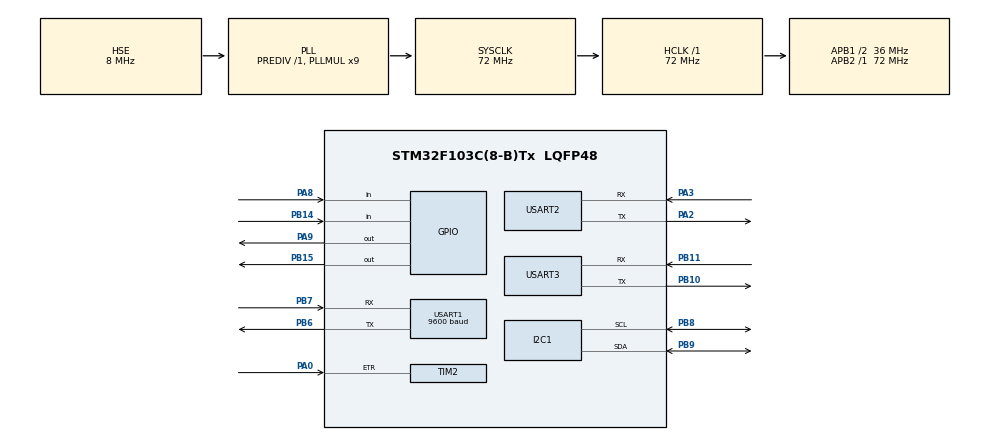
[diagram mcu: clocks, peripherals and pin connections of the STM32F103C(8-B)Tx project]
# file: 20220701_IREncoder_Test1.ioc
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Mcu.Family=STM32F1
Mcu.Name=STM32F103C(8-B)Tx
Mcu.Package=LQFP48
NVIC.I2C1_ER_IRQn=true\:0\:0\:false\:false\:true\:true\:true\:true
NVIC.I2C1_EV_IRQn=true\:0\:0\:false\:false\:true\:true\:true\:true
NVIC.PriorityGroup=NVIC_PRIORITYGROUP_4
NVIC.RCC_IRQn=true\:0\:0\:false\:false\:true\:true\:false\:true
NVIC.TIM3_IRQn=true\:0\:0\:false\:false\:true\:true\:true\:true
NVIC.USART1_IRQn=true\:0\:0\:false\:false\:true\:true\:true\:true
NVIC.USART2_IRQn=true\:0\:0\:false\:false\:true\:true\:true\:true
PA0-WKUP.GPIO_PuPd=GPIO_PULLDOWN
PA0-WKUP.Signal=S_TIM2_CH1_ETR
PA13.Mode=Serial_Wire
PA13.Signal=SYS_JTMS-SWDIO
PA14.Mode=Serial_Wire
PA14.Signal=SYS_JTCK-SWCLK
PA2.Mode=Asynchronous
PA2.Signal=USART2_TX
PA3.Mode=Asynchronous
PA3.Signal=USART2_RX
PA8.Signal=GPIO_Input
PA9.Signal=GPIO_Output
PB10.Mode=Asynchronous
PB10.Signal=USART3_TX
PB11.Mode=Asynchronous
PB11.Signal=USART3_RX
PB14.Signal=GPIO_Input
PB15.Signal=GPIO_Output
PB6.Mode=Asynchronous
PB6.Signal=USART1_TX
PB7.Mode=Asynchronous
PB7.Signal=USART1_RX
PB8.Mode=I2C
PB8.Signal=I2C1_SCL
PB9.Mode=I2C
PB9.Signal=I2C1_SDA
PD0-OSC_IN.Mode=HSE-External-Oscillator
PD0-OSC_IN.Signal=RCC_OSC_IN
PD1-OSC_OUT.Mode=HSE-External-Oscillator
PD1-OSC_OUT.Signal=RCC_OSC_OUT
ProjectManager.HeapSize=0x200
ProjectManager.StackSize=0x400
ProjectManager.TargetToolchain=STM32CubeIDE
RCC.AHBFreq_Value=72000000
RCC.APB1CLKDivider=RCC_HCLK_DIV2
RCC.APB1Freq_Value=36000000
RCC.APB1TimFreq_Value=72000000
RCC.APB2Freq_Value=72000000
RCC.APB2TimFreq_Value=72000000
RCC.HCLKFreq_Value=72000000
RCC.PLLMUL=RCC_PLL_MUL9
RCC.PLLSourceVirtual=RCC_PLLSOURCE_HSE
RCC.SYSCLKFreq_VALUE=72000000
RCC.SYSCLKSource=RCC_SYSCLKSOURCE_PLLCLK
RCC.USBFreq_Value=72000000
SH.S_TIM2_CH1_ETR.0=TIM2_ETR,ClockSourceETR_Mode2
TIM1.Prescaler=71
TIM2.AutoReloadPreload=TIM_AUTORELOAD_PRELOAD_ENABLE
TIM4.Prescaler=71
USART1.BaudRate=9600
USART1.VirtualMode=VM_ASYNC
USART2.VirtualMode=VM_ASYNC
USART3.VirtualMode=VM_ASYNC
VP_TIM1_VS_ClockSourceINT.Mode=Internal
VP_TIM3_VS_ClockSourceINT.Mode=Internal
VP_TIM4_VS_ClockSourceINT.Mode=Internal
board=custom

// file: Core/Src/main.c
/* USER CODE BEGIN Header */
/**
  ******************************************************************************
  * @file           : main.c
  * @brief          : Main program body
  ******************************************************************************
  * @attention
  *
  * Copyright (c) 2022 STMicroelectronics.
  * All rights reserved.
  *
  * This software is licensed under terms that can be found in the LICENSE file
  * in the root directory of this software component.
  * If no LICENSE file comes with this software, it is provided AS-IS.
  *
  ******************************************************************************
  */
/* USER CODE END Header */
#include "main.h"
#include "i2c.h"
#include "tim.h"
#include "usart.h"
#include "gpio.h"

/* USER CODE BEGIN Includes */
#include "irencoder.h"
#include "imu.h"
#include "uartRingBuffer.h"
#include "NMEA.h"
#include "analysis.h"
/* USER CODE END Includes */

/* USER CODE BEGIN PM */
extern char bufferRX[RX_SIZE];
extern char bufferTX[TX_SIZE];
char RMC[100];
/* USER CODE END PM */

/* USER CODE BEGIN PV */

/* Ultra Sonic Forward Variables */
#define FORWARD_TRIG_PIN GPIO_PIN_9
#define FORWARD_TRIG_PORT GPIOA
#define FORWARD_ECHO_PIN GPIO_PIN_8
#define FORWARD_ECHO_PORT GPIOA
uint32_t FWpMillis;
uint32_t FWValue1 = 0;
uint32_t FWValue2 = 0;
int16_t FWDistance= 0;  // cm

/* Ultra Sonic Backword Variables */
#define BACKWARD_TRIG_PIN GPIO_PIN_15
#define BACKWARD_TRIG_PORT GPIOB
#define BACKWARD_ECHO_PIN GPIO_PIN_14
#define BACKWARD_ECHO_PORT GPIOB
uint32_t BWpMillis;
uint32_t BWValue1 = 0;
uint32_t BWValue2 = 0;
int16_t BWDistance= 0;  // cm

#define MIN_DISTANCE 30
#define CAR_LENGTH 16
uint8_t FW[1] = {'F'};
uint8_t BW[1] = {'B'};
uint8_t safe[1] = {'T'};
/* USER CODE END PV */

void SystemClock_Config(void);
/* USER CODE BEGIN PFP */
void ultraForward()
{
    HAL_GPIO_WritePin(FORWARD_TRIG_PORT, FORWARD_TRIG_PIN, GPIO_PIN_SET);  // pull the TRIG pin HIGH
	__HAL_TIM_SET_COUNTER(&htim1, 0);
	while (__HAL_TIM_GET_COUNTER (&htim1) < 10);  // wait for 10 us
    HAL_GPIO_WritePin(FORWARD_TRIG_PORT, FORWARD_TRIG_PIN, GPIO_PIN_RESET);  // pull the TRIG pin low

	FWpMillis = HAL_GetTick(); // used this to avoid infinite while loop  (for timeout)
	// wait for the echo pin to go high
	while (!(HAL_GPIO_ReadPin (FORWARD_ECHO_PORT, FORWARD_ECHO_PIN)) && FWpMillis + 10 >  HAL_GetTick());
	FWValue1 = __HAL_TIM_GET_COUNTER (&htim1);

	FWpMillis = HAL_GetTick(); // used this to avoid infinite while loop (for timeout)
	// wait for the echo pin to go low
	while ((HAL_GPIO_ReadPin (FORWARD_ECHO_PORT, FORWARD_ECHO_PIN)) && FWpMillis + 50 > HAL_GetTick());
	FWValue2 = __HAL_TIM_GET_COUNTER (&htim1);

	FWDistance = (FWValue2-FWValue1)* 0.034/2;
}

void ultraBackward()
{
    HAL_GPIO_WritePin(BACKWARD_TRIG_PORT, BACKWARD_TRIG_PIN, GPIO_PIN_SET);  // pull the TRIG pin HIGH
	__HAL_TIM_SET_COUNTER(&htim1, 0);
	while (__HAL_TIM_GET_COUNTER (&htim1) < 10);  // wait for 10 us
    HAL_GPIO_WritePin(BACKWARD_TRIG_PORT, BACKWARD_TRIG_PIN, GPIO_PIN_RESET);  // pull the TRIG pin low

	BWpMillis = HAL_GetTick(); // used this to avoid infinite while loop  (for timeout)
	// wait for the echo pin to go high
	while (!(HAL_GPIO_ReadPin (BACKWARD_ECHO_PORT, BACKWARD_ECHO_PIN)) && BWpMillis + 10 >  HAL_GetTick());
	BWValue1 = __HAL_TIM_GET_COUNTER (&htim1);

	BWpMillis = HAL_GetTick(); // used this to avoid infinite while loop (for timeout)
	// wait for the echo pin to go low
	while ((HAL_GPIO_ReadPin (BACKWARD_ECHO_PORT, BACKWARD_ECHO_PIN)) && BWpMillis + 50 > HAL_GetTick());
	BWValue2 = __HAL_TIM_GET_COUNTER (&htim1);

	BWDistance = (BWValue2-BWValue1)* 0.034/2;
}

/* USER CODE END PFP */

int main(void)
{

  /* MCU Configuration--------------------------------------------------------*/

  /* Reset of all peripherals, Initializes the Flash interface and the Systick. */
  HAL_Init();

  /* Configure the system clock */
  SystemClock_Config();

  /* USER CODE BEGIN SysInit */

  // pull the TRIG pin low

  /* USER CODE END SysInit */

  /* Initialize all configured peripherals */
  MX_GPIO_Init();
  MX_TIM2_Init();
  MX_TIM3_Init();
  MX_USART1_UART_Init();
  MX_I2C1_Init();
  MX_TIM1_Init();
  MX_USART2_UART_Init();
  MX_TIM4_Init();
  MX_USART3_UART_Init();
  /* USER CODE BEGIN 2 */
  //HAL_Copmass_Init(&hi2c2);
  Ringbuf_init(); //GPS
  HAL_TIM_Base_Start(&htim1); //Ultra Sonic
  HAL_GPIO_WritePin(FORWARD_TRIG_PORT, FORWARD_TRIG_PIN, GPIO_PIN_RESET);
  HAL_Delay(500);
  HAL_IREncoder_Start(&htim2, &htim3); //Encoder
  HAL_IMU_Init(&hi2c1); //IMU
  HAL_Delay(2000);

  /* USER CODE END 2 */

  /* Infinite loop */
  while (1)
  {

    /* USER CODE BEGIN 3 */

	  if(Wait_for("RMC") == 1)
	  {
	  	 Copy_upto("*", RMC);
	  	 getGPSData();

	  }
	  resetBuffersIndexes();
	  ultraForward();
	  ultraBackward();
	  if((FWDistance <= MIN_DISTANCE)||(BWDistance - CAR_LENGTH <= MIN_DISTANCE))
	  {
		  HAL_UART_Transmit(&huart3, &FW, 1, 0xFF);
		  sendWarning();
	  }
	  else
	  		  HAL_UART_Transmit(&huart3, &safe, 1, 0xFF);
	  HAL_IMU_Read(&hi2c1, &himu);
	  //HAL_Compass_Get(&hi2c2, &hcompass);
	  //HAL_UART_Receive(&huart2, bufferRX, sizeof(bufferRX), 0xFFFF);

	  //getNeighborData();
	  getCarData();
	  //analysis();
	  generateTransmitBuffer();
	  HAL_UART_Transmit(&huart2, bufferTX, sizeof(bufferTX), 0xFFFF);
  }
  /* USER CODE END 3 */
}

void SystemClock_Config(void)
{
  RCC_OscInitTypeDef RCC_OscInitStruct = {0};
  RCC_ClkInitTypeDef RCC_ClkInitStruct = {0};

  /** Initializes the RCC Oscillators according to the specified parameters
  * in the RCC_OscInitTypeDef structure.
  */
  RCC_OscInitStruct.OscillatorType = RCC_OSCILLATORTYPE_HSE;
  RCC_OscInitStruct.HSEState = RCC_HSE_ON;
  RCC_OscInitStruct.HSEPredivValue = RCC_HSE_PREDIV_DIV1;
  RCC_OscInitStruct.HSIState = RCC_HSI_ON;
  RCC_OscInitStruct.PLL.PLLState = RCC_PLL_ON;
  RCC_OscInitStruct.PLL.PLLSource = RCC_PLLSOURCE_HSE;
  RCC_OscInitStruct.PLL.PLLMUL = RCC_PLL_MUL9;
  if (HAL_RCC_OscConfig(&RCC_OscInitStruct) != HAL_OK)
  {
    Error_Handler();
  }

  /** Initializes the CPU, AHB and APB buses clocks
  */
  RCC_ClkInitStruct.ClockType = RCC_CLOCKTYPE_HCLK|RCC_CLOCKTYPE_SYSCLK
                              |RCC_CLOCKTYPE_PCLK1|RCC_CLOCKTYPE_PCLK2;
  RCC_ClkInitStruct.SYSCLKSource = RCC_SYSCLKSOURCE_PLLCLK;
  RCC_ClkInitStruct.AHBCLKDivider = RCC_SYSCLK_DIV1;
  RCC_ClkInitStruct.APB1CLKDivider = RCC_HCLK_DIV2;
  RCC_ClkInitStruct.APB2CLKDivider = RCC_HCLK_DIV1;

  if (HAL_RCC_ClockConfig(&RCC_ClkInitStruct, FLASH_LATENCY_2) != HAL_OK)
  {
    Error_Handler();
  }
}

void Error_Handler(void)
{
  __disable_irq();
  while (1)
  {
  }
}
